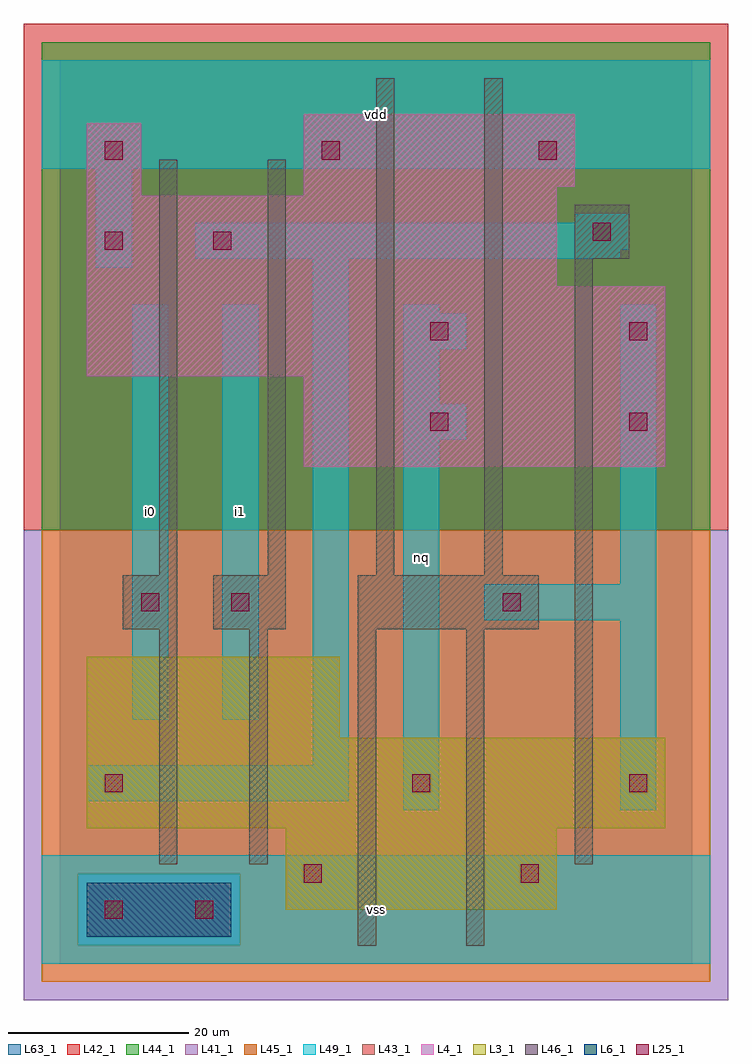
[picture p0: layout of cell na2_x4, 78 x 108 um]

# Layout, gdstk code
import gdstk
lib = gdstk.Library(unit=1e-6, precision=1e-09)
def R(c, l, rs):  # rectangles x0, y0, x1, y1
    for r in rs: c.add(gdstk.rectangle(r[:2], r[2:], *l))
def A(c, l, x, y, w, h, nx, ny, dx, dy):  # array of equal rectangles
    R(c, l, [(x+i*dx, y+j*dy, x+i*dx+w, y+j*dy+h) for i in range(nx) for j in range(ny)])
L3_1 = (3, 1)
L4_1 = (4, 1)
L6_1 = (6, 1)
L25_1 = (25, 1)
L41_1 = (41, 1)
L42_1 = (42, 1)
L43_1 = (43, 1)
L44_1 = (44, 1)
L45_1 = (45, 1)
L46_1 = (46, 1)
L49_1 = (49, 1)
L63_1 = (63, 1)

na2_x4 = lib.new_cell('na2_x4')
R(na2_x4, L3_1, [(25,6,55,15), (3,15,67,25), (3,25,31,34)])
R(na2_x4, L4_1, [(27,55,67,65), (3,65,67,75), (3,75,55,85), (3,85,9,93), (27,85,55,86), (27,86,57,94)])
R(na2_x4, L6_1, [(3,3,19,9), (3,3,19,9)])
A(na2_x4, L25_1, 5, 89, 2, 2, 3, 1, 24, 0)
R(na2_x4, L25_1, [(5,5,7,7), (15,5,17,7), (27,9,29,11), (51,9,53,11), (5,19,7,21), (39,19,41,21), (63,19,65,21), (9,39,11,41), (19,39,21,41), (49,39,51,41), (41,59,43,61), (63,59,65,61), (41,69,43,71), (63,69,65,71), (5,79,7,81), (17,79,19,81), (59,80,61,82)])
R(na2_x4, L41_1, [(-4,-4,74,48)])
R(na2_x4, L42_1, [(-4,48,74,104)])
R(na2_x4, L43_1, [(3,3,19,9), (25,6,55,15), (3,15,67,25), (3,25,31,34), (27,55,67,65), (3,65,67,75), (3,75,55,85), (3,85,9,93), (27,85,55,86), (27,86,57,94)])
R(na2_x4, L44_1, [(2,2,20,10), (-2,48,72,102)])
R(na2_x4, L45_1, [(-2,-2,72,2), (-2,2,2,10), (20,2,72,10), (-2,10,72,48)])
R(na2_x4, L46_1, [(33,2,35,37), (45,2,47,37), (11,11,13,37), (21,11,23,37), (57,11,59,78), (7,37,13,43), (17,37,25,43), (33,37,53,43), (11,43,13,89), (23,43,25,89), (35,43,37,98), (47,43,49,98), (57,78,63,84)])
R(na2_x4, L49_1, [(-2,0,72,12), (38,17,42,58), (62,17,66,38), (3,18,32,22), (28,22,32,78), (8,27,12,73), (18,27,22,73), (47,38,66,42), (62,42,66,73), (38,58,45,62), (38,62,42,68), (38,68,45,72), (38,72,42,73), (4,77,8,88), (15,78,62,79), (15,79,63,82), (57,82,63,83), (-2,88,72,100)])
R(na2_x4, L63_1, [(0,0,70,100)])
na2_x4.add(gdstk.Label('i0', (10,50), layer=49, texttype=1))
na2_x4.add(gdstk.Label('i1', (20,50), layer=49, texttype=1))
na2_x4.add(gdstk.Label('vss', (35,6), layer=49, texttype=1))
na2_x4.add(gdstk.Label('nq', (40,45), layer=49, texttype=1))
na2_x4.add(gdstk.Label('vdd', (35,94), layer=49, texttype=1))

lib.write_gds('na2_x4.gds')
